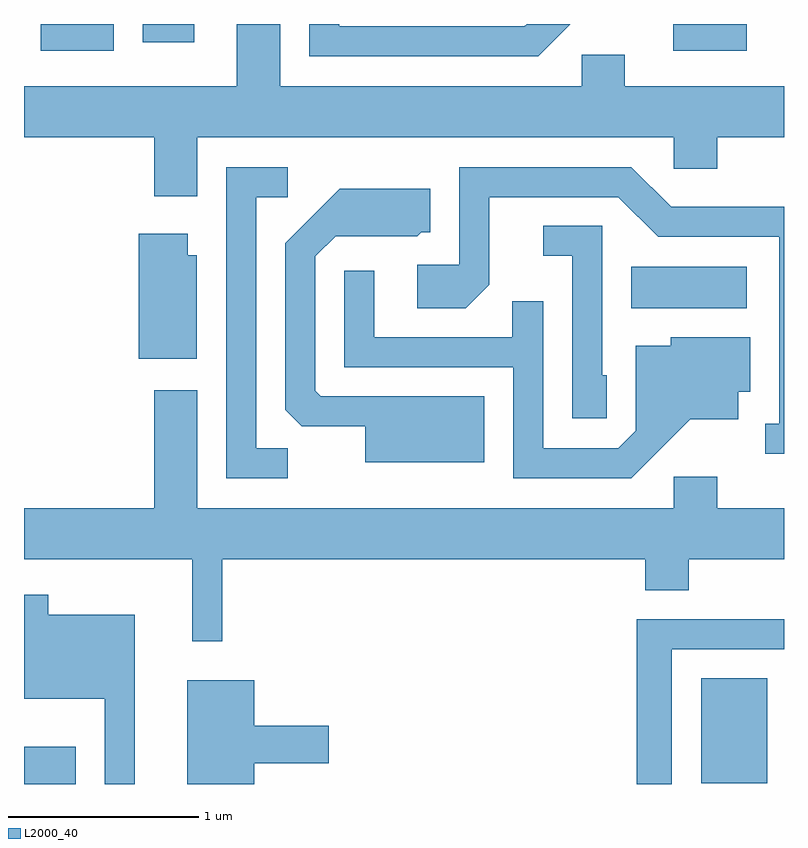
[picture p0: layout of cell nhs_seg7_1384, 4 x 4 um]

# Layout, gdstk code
import gdstk
lib = gdstk.Library(unit=1e-6, precision=1e-09)
def R(c, l, rs):  # rectangles x0, y0, x1, y1
    for r in rs: c.add(gdstk.rectangle(r[:2], r[2:], *l))
def P(c, l, *ps):  # polygons
    for p in ps: c.add(gdstk.Polygon(p, *l))
L2000_40 = (2000, 40)

nhs_seg7_1384 = lib.new_cell('nhs_seg7_1384')
R(nhs_seg7_1384, L2000_40, [(227.611,1704.252,227.884,1704.449), (231.176,1704.256,231.524,1704.809), (230.806,1706.756,231.414,1706.974), (227.698,1708.111,228.084,1708.252), (231.028,1708.111,231.414,1708.252), (228.236,1708.156,228.508,1708.252)])
P(nhs_seg7_1384, L2000_40, [(228.524,1707.656),(231.031,1707.656),(231.031,1707.491),(231.259,1707.491),(231.259,1707.656),(231.611,1707.656),(231.611,1707.924),(230.774,1707.924),(230.774,1708.089),(230.546,1708.089),(230.546,1707.924),(228.959,1707.924),(228.959,1708.252),(228.731,1708.252),(228.731,1707.924),(227.611,1707.924),(227.611,1707.656),(228.296,1707.656),(228.296,1707.346),(228.524,1707.346)],
  [(230.487,1708.252),(230.257,1708.252),(230.244,1708.239),(229.269,1708.239),(229.269,1708.252),(229.111,1708.252),(229.111,1708.081),(230.317,1708.081)],
  [(231.611,1707.289),(231.017,1707.289),(230.807,1707.499),(229.901,1707.499),(229.901,1706.984),(229.681,1706.984),(229.681,1706.756),(229.937,1706.756),(230.059,1706.879),(230.059,1707.341),(230.739,1707.341),(230.949,1707.131),(231.586,1707.131),(231.586,1706.149),(231.513,1706.149),(231.513,1705.991),(231.611,1705.991)],
  [(228.998,1706.019),(228.834,1706.019),(228.834,1707.341),(228.998,1707.341),(228.998,1707.499),(228.676,1707.499),(228.676,1705.861),(228.998,1705.861)],
  [(230.034,1706.294),(229.172,1706.294),(229.144,1706.322),(229.144,1707.029),(229.252,1707.136),(229.682,1707.136),(229.702,1707.156),(229.749,1707.156),(229.749,1707.384),(229.274,1707.384),(228.986,1707.097),(228.986,1706.222),(229.072,1706.136),(229.406,1706.136),(229.406,1705.946),(230.034,1705.946)],
  [(230.679,1706.404),(230.654,1706.404),(230.654,1707.189),(230.343,1707.189),(230.343,1707.031),(230.496,1707.031),(230.496,1706.176),(230.679,1706.176)],
  [(228.519,1707.034),(228.474,1707.034),(228.474,1707.149),(228.216,1707.149),(228.216,1706.491),(228.519,1706.491)],
  [(231.117,1706.171),(231.369,1706.171),(231.369,1706.316),(231.434,1706.316),(231.434,1706.604),(231.016,1706.604),(231.016,1706.559),(230.831,1706.559),(230.831,1706.112),(230.739,1706.019),(230.344,1706.019),(230.344,1706.793),(230.181,1706.793),(230.181,1706.604),(229.454,1706.604),(229.454,1706.953),(229.296,1706.953),(229.296,1706.446),(230.186,1706.446),(230.186,1705.861),(230.807,1705.861)],
  [(228.654,1705.436),(230.881,1705.436),(230.881,1705.271),(231.109,1705.271),(231.109,1705.436),(231.611,1705.436),(231.611,1705.704),(231.259,1705.704),(231.259,1705.869),(231.031,1705.869),(231.031,1705.704),(228.524,1705.704),(228.524,1706.324),(228.296,1706.324),(228.296,1705.704),(227.611,1705.704),(227.611,1705.436),(228.496,1705.436),(228.496,1705.003),(228.654,1705.003)],
  [(228.194,1705.144),(227.739,1705.144),(227.739,1705.248),(227.611,1705.248),(227.611,1704.701),(228.036,1704.701),(228.036,1704.252),(228.194,1704.252)],
  [(231.019,1704.961),(231.611,1704.961),(231.611,1705.119),(230.836,1705.119),(230.836,1704.252),(231.019,1704.252)],
  [(228.824,1704.361),(229.214,1704.361),(229.214,1704.559),(228.824,1704.559),(228.824,1704.799),(228.471,1704.799),(228.471,1704.252),(228.824,1704.252)])

lib.write_gds('nhs_seg7_1384.gds')
